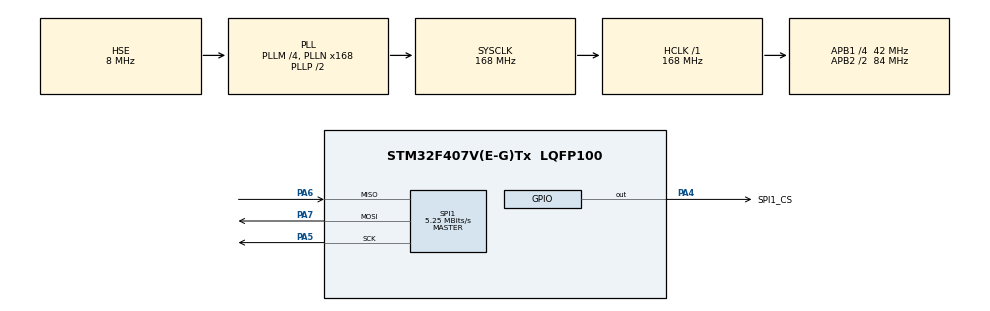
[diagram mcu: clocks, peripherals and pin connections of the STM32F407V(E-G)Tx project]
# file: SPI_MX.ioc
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Mcu.Family=STM32F4
Mcu.Name=STM32F407V(E-G)Tx
Mcu.Package=LQFP100
NVIC.PriorityGroup=NVIC_PRIORITYGROUP_4
PA13.Mode=Trace_Asynchronous_SW
PA13.Signal=SYS_JTMS-SWDIO
PA14.Mode=Trace_Asynchronous_SW
PA14.Signal=SYS_JTCK-SWCLK
PA4.GPIO_Label=SPI1_CS
PA4.Signal=GPIO_Output
PA5.Mode=Full_Duplex_Master
PA5.Signal=SPI1_SCK
PA6.Mode=Full_Duplex_Master
PA6.Signal=SPI1_MISO
PA7.Mode=Full_Duplex_Master
PA7.Signal=SPI1_MOSI
PB3.Mode=Trace_Asynchronous_SW
PB3.Signal=SYS_JTDO-SWO
PH0-OSC_IN.Mode=HSE-External-Oscillator
PH0-OSC_IN.Signal=RCC_OSC_IN
PH1-OSC_OUT.Mode=HSE-External-Oscillator
PH1-OSC_OUT.Signal=RCC_OSC_OUT
ProjectManager.HeapSize=0x200
ProjectManager.StackSize=0x400
ProjectManager.TargetToolchain=MDK-ARM V5
RCC.48MHZClocksFreq_Value=84000000
RCC.AHBFreq_Value=168000000
RCC.APB1CLKDivider=RCC_HCLK_DIV4
RCC.APB1Freq_Value=42000000
RCC.APB1TimFreq_Value=84000000
RCC.APB2CLKDivider=RCC_HCLK_DIV2
RCC.APB2Freq_Value=84000000
RCC.APB2TimFreq_Value=168000000
RCC.CortexFreq_Value=168000000
RCC.HCLKFreq_Value=168000000
RCC.HSE_VALUE=8000000
RCC.HSI_VALUE=16000000
RCC.LSE_VALUE=32768
RCC.PLLM=4
RCC.PLLN=168
RCC.PLLSourceVirtual=RCC_PLLSOURCE_HSE
RCC.SYSCLKFreq_VALUE=168000000
RCC.SYSCLKSource=RCC_SYSCLKSOURCE_PLLCLK
RCC.VCOOutputFreq_Value=336000000
SPI1.BaudRatePrescaler=SPI_BAUDRATEPRESCALER_16
SPI1.CalculateBaudRate=5.25 MBits/s
SPI1.Direction=SPI_DIRECTION_2LINES
SPI1.Mode=SPI_MODE_MASTER
SPI1.VirtualType=VM_MASTER
board=custom

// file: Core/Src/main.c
/* USER CODE BEGIN Header */
/**
  ******************************************************************************
  * @file           : main.c
  * @brief          : Main program body
  ******************************************************************************
  * @attention
  *
  * Copyright (c) 2022 STMicroelectronics.
  * All rights reserved.
  *
  * This software is licensed under terms that can be found in the LICENSE file
  * in the root directory of this software component.
  * If no LICENSE file comes with this software, it is provided AS-IS.
  *
  ******************************************************************************
  */
/* USER CODE END Header */
#include "main.h"

/* USER CODE BEGIN Includes */
#include "stdio.h"
/* USER CODE END Includes */

SPI_HandleTypeDef hspi1;

void SystemClock_Config(void);
static void MX_GPIO_Init(void);
static void MX_SPI1_Init(void);
/* USER CODE BEGIN PFP */
struct __FILE
{
  int handle;
  /* Whatever you require here. If the only file you are using is */
  /* standard output using printf() for debugging, no file handling */
  /* is required. */
};
/* USER CODE END PFP */

/* USER CODE BEGIN 0 */
#define csOn()	HAL_GPIO_WritePin(SPI1_CS_GPIO_Port, SPI1_CS_Pin, GPIO_PIN_RESET)
#define csOf()	HAL_GPIO_WritePin(SPI1_CS_GPIO_Port, SPI1_CS_Pin, GPIO_PIN_SET)

uint8_t cbusReadData8bit(uint8_t reg)
{
	uint8_t data;
	csOn();
	HAL_SPI_Transmit(&hspi1, &reg, 1, 1000);
	HAL_SPI_Receive(&hspi1, &data, 1, 1000);
	csOf();
	return data;
}
uint16_t cbusReadData16bit(uint8_t reg)
{
	uint8_t data;
	uint16_t data16;
	csOn();
	HAL_SPI_Transmit(&hspi1, &reg, 1, 1000);
	HAL_SPI_Receive(&hspi1, &data, 1, 1000);
	data16 = data<<8;
	HAL_SPI_Receive(&hspi1, &data, 1, 1000);
	data16 = data16|data;
	csOf();
	return data16;
}
uint8_t cbusReadData8bit_save ( uint8_t reg , uint8_t *data)
{
	csOn();
	HAL_SPI_Transmit(&hspi1, &reg , 1, 1000);

	HAL_SPI_Receive(&hspi1, &data[0] , 27 , 1000);

	csOf();
}
void cbusWriteData8bit_save(uint8_t reg, uint8_t *data)
{
	csOn();
	HAL_SPI_Transmit(&hspi1, &reg, 1, 1000);
	HAL_SPI_Transmit(&hspi1, &data[0], 1, 1000);
	csOf();
}

void cbusWriteData8bit(uint8_t reg, uint8_t data)
{
	csOn();
	HAL_SPI_Transmit(&hspi1, &reg, 1, 1000);
	HAL_SPI_Transmit(&hspi1, &data, 1, 1000);
	csOf();
}
void cbusWriteData16bit(uint8_t reg, uint16_t data16)
{
	uint8_t data[2];
	data[0]=data16>>8;
	data[1]=data16&0xff;
	csOn();
	HAL_SPI_Transmit(&hspi1, &reg, 1, 1000);
	HAL_SPI_Transmit(&hspi1, &data[0], 2, 1000);
	csOf();
}
uint8_t dataBuff[2700] = {0};
int idx =0;
/* USER CODE END 0 */

int main(void)
{

  /* MCU Configuration--------------------------------------------------------*/

  /* Reset of all peripherals, Initializes the Flash interface and the Systick. */
  HAL_Init();

  /* Configure the system clock */
  SystemClock_Config();

  /* Initialize all configured peripherals */
  MX_GPIO_Init();
  MX_SPI1_Init();
  /* USER CODE BEGIN 2 */
	cbusWriteData8bit(0x01, 1);
	while(1)
	{
			uint16_t data16 = cbusReadData16bit(0x40);
			if(data16&0x8000)
			{
				printf("\n RDY Data16= 0x%04x", data16);
				break;
			}
			else	printf("\n Fail: Data16= 0x%04x", data16);

	}
	cbusWriteData16bit(0x1f, 0xc107);
	cbusWriteData16bit(0x1d, 0x0005);
	cbusWriteData8bit(0x0A, 0x00);
	while(1)
	{
			uint16_t data16 = cbusReadData16bit(0x40);
			if(data16&0x4000)
			{
				printf("\n SVC Data16= 0x%04x", data16);
				break;
			}
			else	printf("\n Fail: Data16= 0x%04x", data16);

	}

	cbusWriteData8bit(0x09, 0x03);
	HAL_Delay(100);
	cbusWriteData8bit(0x07, 0x37);
	while(1)
	{
			uint16_t data16 = cbusReadData16bit(0x40);
			if(data16&0x8000)
			{
				printf("\n RDY Data16= 0x%04x", data16);
				break;
			}
			else	printf("\n Fail: Data16= 0x%04x", data16);

	}
	while(1)
	{
			uint16_t data = cbusReadData8bit(0x2E);
			if(data&0x01)
			{
				printf("\n 2E Data= 0x%02x", data);
				break;
			}
			else	printf("\n Fail: Data= 0x%02x", data);

	}
	HAL_Delay(100);

	cbusWriteData16bit(0x11, 0x0002);
	while(1)
	{
			uint16_t data16 = cbusReadData16bit(0x40);
			if(data16&0x8000)
			{
				printf("\n RDY Data16= 0x%04x", data16);
				break;
			}
			else	printf("\n Fail: Data16= 0x%04x", data16);

	}
	while(1)
	{
			uint16_t data = cbusReadData8bit(0x2E);
			if(data&0x01)
			{
				printf("\n 2E Data= 0x%02x", data);
				break;
			}
			else	printf("\n Fail: Data= 0x%02x", data);

	}
	idx =0;
	while(1)
	{
			uint16_t data16 = cbusReadData16bit(0x40);
			if(data16&0x0001){
				cbusReadData8bit_save (0x30,&dataBuff[idx]);
				idx += 27; if(idx >= 2700) break;
			}
	}
	for( int i = 0 ; i < 2700 ; i ++){
		printf("0x%02x,",dataBuff[i]);
	}
	cbusWriteData16bit(0x11,0x0002);
	while(1)
	{
			uint16_t data16 = cbusReadData16bit(0x40);
			if(data16&0x8000)
			{
				printf("\n RDY_1 Data16= 0x%04x", data16);
				break;
			}
			else	printf("\n Fail: Data16= 0x%04x", data16);

	}
	while(1)
	{
			uint16_t data = cbusReadData8bit(0x2E);
			if(data&0x01)
			{
				printf("\n 2E_1s Data= 0x%02x", data);
				break;
			}
			else	printf("\n Fail: Data= 0x%02x", data);

	}
while(1)
	{
				cbusWriteData8bit_save (0x10,&dataBuff[idx]);
				idx += 27;
			HAL_Delay(60);
		if(idx >= 2700) break;
	}
		for( int i = 0 ; i < 2700 ; i ++){
		printf("\n 0x%02x,",dataBuff[i]);
	}
  /* USER CODE END 2 */

  /* Infinite loop */
  while (1)
  {

  }
}

void SystemClock_Config(void)
{
  RCC_OscInitTypeDef RCC_OscInitStruct = {0};
  RCC_ClkInitTypeDef RCC_ClkInitStruct = {0};

  /** Configure the main internal regulator output voltage
  */
  __HAL_RCC_PWR_CLK_ENABLE();
  __HAL_PWR_VOLTAGESCALING_CONFIG(PWR_REGULATOR_VOLTAGE_SCALE1);

  /** Initializes the RCC Oscillators according to the specified parameters
  * in the RCC_OscInitTypeDef structure.
  */
  RCC_OscInitStruct.OscillatorType = RCC_OSCILLATORTYPE_HSE;
  RCC_OscInitStruct.HSEState = RCC_HSE_ON;
  RCC_OscInitStruct.PLL.PLLState = RCC_PLL_ON;
  RCC_OscInitStruct.PLL.PLLSource = RCC_PLLSOURCE_HSE;
  RCC_OscInitStruct.PLL.PLLM = 4;
  RCC_OscInitStruct.PLL.PLLN = 168;
  RCC_OscInitStruct.PLL.PLLP = RCC_PLLP_DIV2;
  RCC_OscInitStruct.PLL.PLLQ = 4;
  if (HAL_RCC_OscConfig(&RCC_OscInitStruct) != HAL_OK)
  {
    Error_Handler();
  }

  /** Initializes the CPU, AHB and APB buses clocks
  */
  RCC_ClkInitStruct.ClockType = RCC_CLOCKTYPE_HCLK|RCC_CLOCKTYPE_SYSCLK
                              |RCC_CLOCKTYPE_PCLK1|RCC_CLOCKTYPE_PCLK2;
  RCC_ClkInitStruct.SYSCLKSource = RCC_SYSCLKSOURCE_PLLCLK;
  RCC_ClkInitStruct.AHBCLKDivider = RCC_SYSCLK_DIV1;
  RCC_ClkInitStruct.APB1CLKDivider = RCC_HCLK_DIV4;
  RCC_ClkInitStruct.APB2CLKDivider = RCC_HCLK_DIV2;

  if (HAL_RCC_ClockConfig(&RCC_ClkInitStruct, FLASH_LATENCY_5) != HAL_OK)
  {
    Error_Handler();
  }
}

static void MX_SPI1_Init(void)
{

  /* SPI1 parameter configuration*/
  hspi1.Instance = SPI1;
  hspi1.Init.Mode = SPI_MODE_MASTER;
  hspi1.Init.Direction = SPI_DIRECTION_2LINES;
  hspi1.Init.DataSize = SPI_DATASIZE_8BIT;
  hspi1.Init.CLKPolarity = SPI_POLARITY_LOW;
  hspi1.Init.CLKPhase = SPI_PHASE_1EDGE;
  hspi1.Init.NSS = SPI_NSS_SOFT;
  hspi1.Init.BaudRatePrescaler = SPI_BAUDRATEPRESCALER_16;
  hspi1.Init.FirstBit = SPI_FIRSTBIT_MSB;
  hspi1.Init.TIMode = SPI_TIMODE_DISABLE;
  hspi1.Init.CRCCalculation = SPI_CRCCALCULATION_DISABLE;
  hspi1.Init.CRCPolynomial = 10;
  if (HAL_SPI_Init(&hspi1) != HAL_OK)
  {
    Error_Handler();
  }

}

static void MX_GPIO_Init(void)
{
  GPIO_InitTypeDef GPIO_InitStruct = {0};

  /* GPIO Ports Clock Enable */
  __HAL_RCC_GPIOH_CLK_ENABLE();
  __HAL_RCC_GPIOA_CLK_ENABLE();
  __HAL_RCC_GPIOB_CLK_ENABLE();

  /*Configure GPIO pin Output Level */
  HAL_GPIO_WritePin(SPI1_CS_GPIO_Port, SPI1_CS_Pin, GPIO_PIN_RESET);

  /*Configure GPIO pin : SPI1_CS_Pin */
  GPIO_InitStruct.Pin = SPI1_CS_Pin;
  GPIO_InitStruct.Mode = GPIO_MODE_OUTPUT_PP;
  GPIO_InitStruct.Pull = GPIO_NOPULL;
  GPIO_InitStruct.Speed = GPIO_SPEED_FREQ_LOW;
  HAL_GPIO_Init(SPI1_CS_GPIO_Port, &GPIO_InitStruct);

}

/* USER CODE BEGIN 4 */
int fputc(int ch, FILE *f) {
    ITM_SendChar(ch);//send method for SWV
    return(ch);
}
/* USER CODE END 4 */

void Error_Handler(void)
{
  __disable_irq();
  while (1)
  {
  }
}
